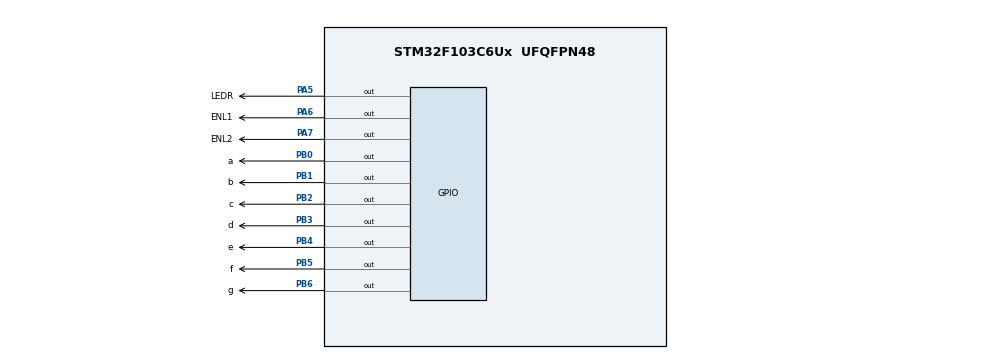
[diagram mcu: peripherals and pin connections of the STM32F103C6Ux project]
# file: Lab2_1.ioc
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Mcu.Family=STM32F1
Mcu.Name=STM32F103C6Ux
Mcu.Package=UFQFPN48
NVIC.PriorityGroup=NVIC_PRIORITYGROUP_4
NVIC.TIM2_IRQn=true\:0\:0\:false\:false\:true\:true\:true\:true
PA5.GPIO_Label=LEDR
PA5.Signal=GPIO_Output
PA6.GPIO_Label=ENL1
PA6.Signal=GPIO_Output
PA7.GPIO_Label=ENL2
PA7.Signal=GPIO_Output
PB0.GPIO_Label=a
PB0.Signal=GPIO_Output
PB1.GPIO_Label=b
PB1.Signal=GPIO_Output
PB2.GPIO_Label=c
PB2.Signal=GPIO_Output
PB3.GPIO_Label=d
PB3.Signal=GPIO_Output
PB4.GPIO_Label=e
PB4.Signal=GPIO_Output
PB5.GPIO_Label=f
PB5.Signal=GPIO_Output
PB6.GPIO_Label=g
PB6.Signal=GPIO_Output
ProjectManager.HeapSize=0x200
ProjectManager.StackSize=0x400
ProjectManager.TargetToolchain=STM32CubeIDE
RCC.APB1Freq_Value=8000000
RCC.APB2Freq_Value=8000000
TIM2.Period=9
TIM2.Prescaler=7999
VP_TIM2_VS_ClockSourceINT.Mode=Internal
board=custom

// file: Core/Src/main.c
/* USER CODE BEGIN Header */
/**
  ******************************************************************************
  * @file           : main.c
  * @brief          : Main program body
  ******************************************************************************
  * @attention
  *
  * Copyright (c) 2022 STMicroelectronics.
  * All rights reserved.
  *
  * This software is licensed under terms that can be found in the LICENSE file
  * in the root directory of this software component.
  * If no LICENSE file comes with this software, it is provided AS-IS.
  *
  ******************************************************************************
  */
/* USER CODE END Header */
#include "main.h"

TIM_HandleTypeDef htim2;

void SystemClock_Config(void);
static void MX_GPIO_Init(void);
static void MX_TIM2_Init(void);

/* USER CODE BEGIN 0 */
void display7SEG(int num);
/* USER CODE END 0 */

int main(void)
{

  /* MCU Configuration--------------------------------------------------------*/

  /* Reset of all peripherals, Initializes the Flash interface and the Systick. */
  HAL_Init();

  /* Configure the system clock */
  SystemClock_Config();

  /* Initialize all configured peripherals */
  MX_GPIO_Init();
  MX_TIM2_Init();
  /* USER CODE BEGIN 2 */

  HAL_GPIO_WritePin(LEDR_GPIO_Port, LEDR_Pin, 1);
  HAL_GPIO_WritePin(ENL1_GPIO_Port, ENL1_Pin, 0);
  HAL_GPIO_WritePin(ENL2_GPIO_Port, ENL2_Pin, 1);
  display7SEG(1);
  HAL_TIM_Base_Start_IT(&htim2);
  /* USER CODE END 2 */

  /* Infinite loop */
  while (1)
  {

  }
}

void SystemClock_Config(void)
{
  RCC_OscInitTypeDef RCC_OscInitStruct = {0};
  RCC_ClkInitTypeDef RCC_ClkInitStruct = {0};

  /** Initializes the RCC Oscillators according to the specified parameters
  * in the RCC_OscInitTypeDef structure.
  */
  RCC_OscInitStruct.OscillatorType = RCC_OSCILLATORTYPE_HSI;
  RCC_OscInitStruct.HSIState = RCC_HSI_ON;
  RCC_OscInitStruct.HSICalibrationValue = RCC_HSICALIBRATION_DEFAULT;
  RCC_OscInitStruct.PLL.PLLState = RCC_PLL_NONE;
  if (HAL_RCC_OscConfig(&RCC_OscInitStruct) != HAL_OK)
  {
    Error_Handler();
  }

  /** Initializes the CPU, AHB and APB buses clocks
  */
  RCC_ClkInitStruct.ClockType = RCC_CLOCKTYPE_HCLK|RCC_CLOCKTYPE_SYSCLK
                              |RCC_CLOCKTYPE_PCLK1|RCC_CLOCKTYPE_PCLK2;
  RCC_ClkInitStruct.SYSCLKSource = RCC_SYSCLKSOURCE_HSI;
  RCC_ClkInitStruct.AHBCLKDivider = RCC_SYSCLK_DIV1;
  RCC_ClkInitStruct.APB1CLKDivider = RCC_HCLK_DIV1;
  RCC_ClkInitStruct.APB2CLKDivider = RCC_HCLK_DIV1;

  if (HAL_RCC_ClockConfig(&RCC_ClkInitStruct, FLASH_LATENCY_0) != HAL_OK)
  {
    Error_Handler();
  }
}

static void MX_TIM2_Init(void)
{

  TIM_ClockConfigTypeDef sClockSourceConfig = {0};
  TIM_MasterConfigTypeDef sMasterConfig = {0};

  htim2.Instance = TIM2;
  htim2.Init.Prescaler = 7999;
  htim2.Init.CounterMode = TIM_COUNTERMODE_UP;
  htim2.Init.Period = 9;
  htim2.Init.ClockDivision = TIM_CLOCKDIVISION_DIV1;
  htim2.Init.AutoReloadPreload = TIM_AUTORELOAD_PRELOAD_DISABLE;
  if (HAL_TIM_Base_Init(&htim2) != HAL_OK)
  {
    Error_Handler();
  }
  sClockSourceConfig.ClockSource = TIM_CLOCKSOURCE_INTERNAL;
  if (HAL_TIM_ConfigClockSource(&htim2, &sClockSourceConfig) != HAL_OK)
  {
    Error_Handler();
  }
  sMasterConfig.MasterOutputTrigger = TIM_TRGO_RESET;
  sMasterConfig.MasterSlaveMode = TIM_MASTERSLAVEMODE_DISABLE;
  if (HAL_TIMEx_MasterConfigSynchronization(&htim2, &sMasterConfig) != HAL_OK)
  {
    Error_Handler();
  }

}

static void MX_GPIO_Init(void)
{
  GPIO_InitTypeDef GPIO_InitStruct = {0};

  /* GPIO Ports Clock Enable */
  __HAL_RCC_GPIOA_CLK_ENABLE();
  __HAL_RCC_GPIOB_CLK_ENABLE();

  /*Configure GPIO pin Output Level */
  HAL_GPIO_WritePin(GPIOA, LEDR_Pin|ENL1_Pin|ENL2_Pin, GPIO_PIN_RESET);

  /*Configure GPIO pin Output Level */
  HAL_GPIO_WritePin(GPIOB, a_Pin|b_Pin|c_Pin|d_Pin
                          |e_Pin|f_Pin|g_Pin, GPIO_PIN_RESET);

  /*Configure GPIO pins : LEDR_Pin ENL1_Pin ENL2_Pin */
  GPIO_InitStruct.Pin = LEDR_Pin|ENL1_Pin|ENL2_Pin;
  GPIO_InitStruct.Mode = GPIO_MODE_OUTPUT_PP;
  GPIO_InitStruct.Pull = GPIO_NOPULL;
  GPIO_InitStruct.Speed = GPIO_SPEED_FREQ_LOW;
  HAL_GPIO_Init(GPIOA, &GPIO_InitStruct);

  /*Configure GPIO pins : a_Pin b_Pin c_Pin d_Pin
                           e_Pin f_Pin g_Pin */
  GPIO_InitStruct.Pin = a_Pin|b_Pin|c_Pin|d_Pin
                          |e_Pin|f_Pin|g_Pin;
  GPIO_InitStruct.Mode = GPIO_MODE_OUTPUT_PP;
  GPIO_InitStruct.Pull = GPIO_NOPULL;
  GPIO_InitStruct.Speed = GPIO_SPEED_FREQ_LOW;
  HAL_GPIO_Init(GPIOB, &GPIO_InitStruct);

}

/* USER CODE BEGIN 4 */
void display7SEG(int num){
	if (num==1){
		HAL_GPIO_WritePin(a_GPIO_Port, a_Pin, 1);
		HAL_GPIO_WritePin(a_GPIO_Port, b_Pin, 0);
		HAL_GPIO_WritePin(a_GPIO_Port, c_Pin, 0);
		HAL_GPIO_WritePin(a_GPIO_Port, d_Pin, 1);
		HAL_GPIO_WritePin(a_GPIO_Port, e_Pin, 1);
		HAL_GPIO_WritePin(a_GPIO_Port, f_Pin, 1);
		HAL_GPIO_WritePin(a_GPIO_Port, g_Pin, 1);
	}
	else if (num==2){
		HAL_GPIO_WritePin(a_GPIO_Port, a_Pin, 0);
		HAL_GPIO_WritePin(a_GPIO_Port, b_Pin, 0);
		HAL_GPIO_WritePin(a_GPIO_Port, c_Pin, 1);
		HAL_GPIO_WritePin(a_GPIO_Port, d_Pin, 0);
		HAL_GPIO_WritePin(a_GPIO_Port, e_Pin, 0);
		HAL_GPIO_WritePin(a_GPIO_Port, f_Pin, 1);
		HAL_GPIO_WritePin(a_GPIO_Port, g_Pin, 0);
	}
}
int counter = 50;
int number  = 2;
void HAL_TIM_PeriodElapsedCallback ( TIM_HandleTypeDef * htim )
{
	counter --;
	if( counter <= 0) {
		counter = 50;

		if (number == 1) {
			HAL_GPIO_WritePin(ENL1_GPIO_Port, ENL1_Pin, 0);
			HAL_GPIO_WritePin(ENL2_GPIO_Port, ENL2_Pin, 1);
			display7SEG(number);
			number = 2;
		}
		else {
			HAL_GPIO_WritePin(ENL1_GPIO_Port, ENL1_Pin, 1);
			HAL_GPIO_WritePin(ENL2_GPIO_Port, ENL2_Pin, 0);
			display7SEG(number);
			number = 1;
		}
	}
}
/* USER CODE END 4 */

void Error_Handler(void)
{
  __disable_irq();
  while (1)
  {
  }
}
